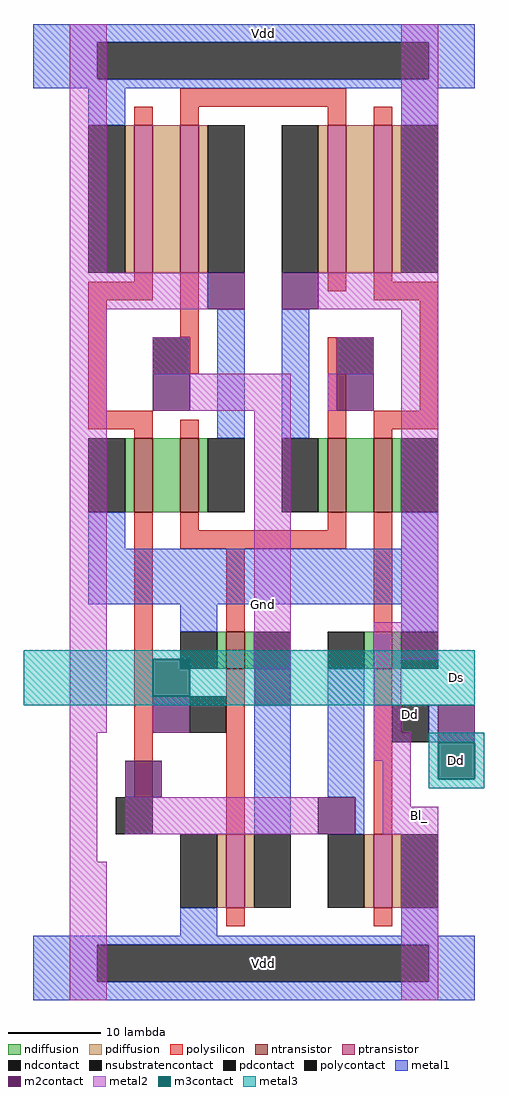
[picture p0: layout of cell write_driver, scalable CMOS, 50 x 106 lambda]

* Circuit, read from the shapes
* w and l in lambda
.subckt write_driver Bl_ Dd Ds Gnd Vdd
M1 n1 n2 Gnd VSUBS nfet w=8 l=2
M2 n3 Ds n1 VSUBS nfet w=8 l=2
M3 n4 Ds Gnd VSUBS nfet w=4 l=2
M4 n5 Ds Bl_ VSUBS nfet w=8 l=2
M5 Gnd Dd n2 VSUBS nfet w=4 l=2
M6 Gnd Dd n5 VSUBS nfet w=8 l=2
M7 n6 n2 Vdd Vdd pfet w=16 l=2
M8 n3 n4 n6 Vdd pfet w=16 l=2
M9 n4 Ds Vdd Vdd pfet w=8 l=2
M10 n7 n4 Bl_ Vdd pfet w=16 l=2
M11 Vdd Dd n2 Vdd pfet w=8 l=2
M12 Vdd Dd n7 Vdd pfet w=16 l=2
.ends

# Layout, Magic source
magic
tech scmos
<< ntransistor >>
rect 5 -30 7 -22
rect 10 -30 12 -22
rect 26 -30 28 -22
rect 31 -30 33 -22
rect 15 -47 17 -43
rect 31 -47 33 -43
<< ptransistor >>
rect 5 -4 7 12
rect 10 -4 12 12
rect 26 -4 28 12
rect 31 -4 33 12
rect 15 -73 17 -65
rect 31 -73 33 -65
<< ndiffusion >>
rect 4 -30 5 -22
rect 7 -30 10 -22
rect 12 -30 13 -22
rect 25 -30 26 -22
rect 28 -30 31 -22
rect 33 -30 34 -22
rect 14 -47 15 -43
rect 17 -47 18 -43
rect 30 -47 31 -43
rect 33 -47 34 -43
<< pdiffusion >>
rect 4 -4 5 12
rect 7 -4 10 12
rect 12 -4 13 12
rect 25 -4 26 12
rect 28 -4 31 12
rect 33 -4 34 12
rect 14 -73 15 -65
rect 17 -73 18 -65
rect 30 -73 31 -65
rect 33 -73 34 -65
<< ndcontact >>
rect 0 -30 4 -22
rect 13 -30 17 -22
rect 21 -30 25 -22
rect 34 -30 38 -22
rect 10 -47 14 -43
rect 18 -47 22 -43
rect 26 -47 30 -43
rect 34 -47 38 -43
<< pdcontact >>
rect 0 -4 4 12
rect 13 -4 17 12
rect 21 -4 25 12
rect 34 -4 38 12
rect 10 -73 14 -65
rect 18 -73 22 -65
rect 26 -73 30 -65
rect 34 -73 38 -65
<< nsubstratencontact >>
rect 1 17 37 21
rect 1 -81 37 -77
<< polysilicon >>
rect 10 14 28 16
rect 5 12 7 14
rect 10 12 12 14
rect 26 12 28 14
rect 31 12 33 14
rect 5 -5 7 -4
rect 0 -7 7 -5
rect 0 -19 2 -7
rect 10 -11 12 -4
rect 26 -6 28 -4
rect 31 -5 33 -4
rect 31 -7 38 -5
rect 11 -15 12 -11
rect 26 -15 27 -11
rect 0 -21 7 -19
rect 5 -22 7 -21
rect 10 -22 12 -20
rect 26 -22 28 -15
rect 36 -19 38 -7
rect 31 -21 38 -19
rect 31 -22 33 -21
rect 5 -61 7 -30
rect 10 -32 12 -30
rect 26 -32 28 -30
rect 10 -34 28 -32
rect 15 -43 17 -34
rect 31 -43 33 -30
rect 15 -65 17 -47
rect 31 -65 33 -47
rect 15 -75 17 -73
rect 31 -75 33 -73
<< polycontact >>
rect 7 -15 11 -11
rect 27 -15 31 -11
rect 11 -54 15 -50
rect 3 -65 7 -61
rect 33 -55 37 -51
<< metal1 >>
rect -6 21 42 23
rect -6 17 1 21
rect 37 17 42 21
rect -6 16 42 17
rect 0 12 4 16
rect 34 12 38 16
rect 14 -22 17 -8
rect 21 -22 24 -8
rect 0 -34 4 -30
rect 34 -34 38 -30
rect 0 -40 38 -34
rect 10 -43 14 -40
rect 34 -43 38 -40
rect 18 -65 22 -51
rect 26 -61 30 -47
rect 37 -55 38 -51
rect 29 -65 30 -61
rect 10 -76 14 -73
rect 34 -76 38 -73
rect -6 -77 42 -76
rect -6 -81 1 -77
rect 37 -81 42 -77
rect -6 -83 42 -81
<< m2contact >>
rect 13 -8 17 -4
rect 7 -19 11 -15
rect 21 -8 25 -4
rect 27 -19 31 -15
rect 7 -54 11 -50
rect 18 -51 22 -47
rect 4 -61 8 -57
rect 38 -55 42 -51
rect 25 -65 29 -61
<< metal2 >>
rect -2 -4 2 23
rect 34 -4 38 23
rect -2 -8 13 -4
rect 25 -8 38 -4
rect -2 -54 2 -8
rect 7 -15 11 -11
rect 27 -15 31 -11
rect 11 -19 22 -15
rect 26 -19 27 -15
rect 18 -47 22 -19
rect 34 -42 38 -8
rect 31 -46 38 -42
rect 31 -54 34 -46
rect -2 -68 1 -54
rect 31 -57 35 -54
rect 4 -65 25 -61
rect 32 -62 35 -57
rect 32 -65 38 -62
rect -2 -83 2 -68
rect 34 -83 38 -65
<< m3contact >>
rect 7 -50 11 -46
rect 38 -59 42 -55
<< metal3 >>
rect -7 -46 42 -45
rect -7 -50 7 -46
rect 11 -50 42 -46
rect -7 -51 42 -50
rect 37 -55 43 -54
rect 37 -59 38 -55
rect 42 -59 43 -55
rect 37 -60 43 -59
<< labels >>
rlabel metal1 19 -40 19 -40 1 Gnd
rlabel metal1 19 22 19 22 5 Vdd
rlabel polycontact 35 -52 35 -52 1 Dd
rlabel nsubstratencontact 19 -79 19 -79 1 Vdd
rlabel metal2 36 -63 36 -63 1 Bl_
rlabel metal3 40 -48 40 -48 1 Ds
rlabel m3contact 40 -57 40 -57 1 Dd
<< end >>
